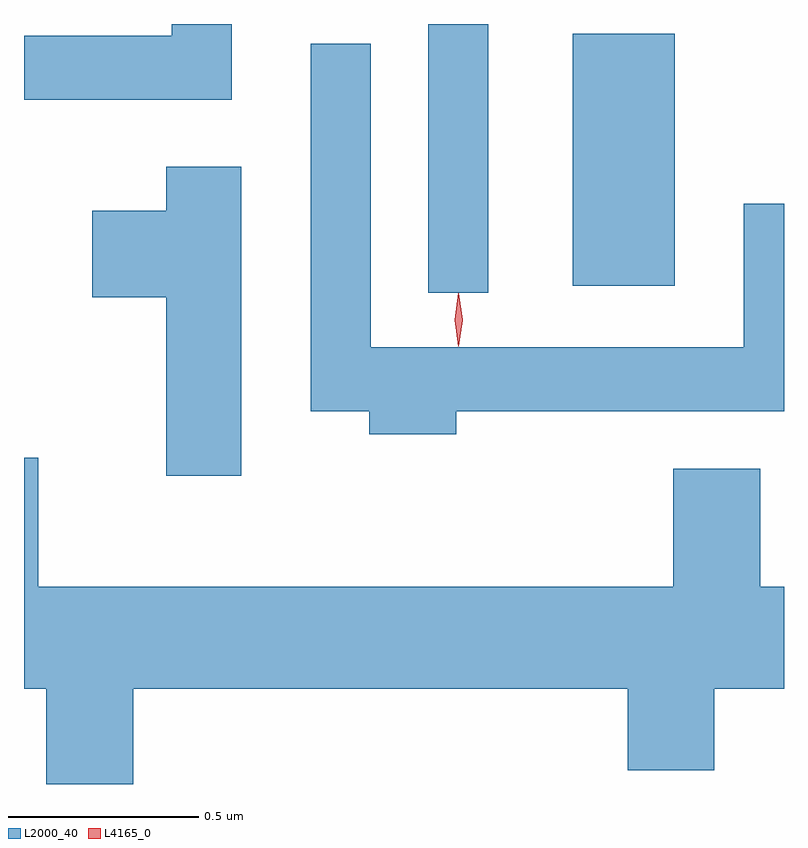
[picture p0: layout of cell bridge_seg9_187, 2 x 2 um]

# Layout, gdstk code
import gdstk
lib = gdstk.Library(unit=1e-6, precision=1e-09)
def R(c, l, rs):  # rectangles x0, y0, x1, y1
    for r in rs: c.add(gdstk.rectangle(r[:2], r[2:], *l))
def P(c, l, *ps):  # polygons
    for p in ps: c.add(gdstk.Polygon(p, *l))
L2000_40 = (2000, 40)
L4165_0 = (4165, 0)

bridge_seg9_187 = lib.new_cell('bridge_seg9_187')
R(bridge_seg9_187, L2000_40, [(1392.216,2072.778,1392.374,2073.485), (1392.596,2072.796,1392.864,2073.459)])
P(bridge_seg9_187, L2000_40, [(1391.699,2073.485),(1391.541,2073.485),(1391.541,2073.454),(1391.152,2073.454),(1391.152,2073.286),(1391.699,2073.286)],
  [(1392.289,2072.466),(1393.152,2072.466),(1393.152,2073.012),(1393.046,2073.012),(1393.046,2072.634),(1392.064,2072.634),(1392.064,2073.433),(1391.906,2073.433),(1391.906,2072.466),(1392.061,2072.466),(1392.061,2072.406),(1392.289,2072.406)],
  [(1391.724,2073.109),(1391.526,2073.109),(1391.526,2072.994),(1391.331,2072.994),(1391.331,2072.766),(1391.526,2072.766),(1391.526,2072.296),(1391.724,2072.296)],
  [(1391.439,2071.736),(1392.741,2071.736),(1392.741,2071.521),(1392.969,2071.521),(1392.969,2071.736),(1393.152,2071.736),(1393.152,2072.004),(1393.089,2072.004),(1393.089,2072.314),(1392.861,2072.314),(1392.861,2072.004),(1391.189,2072.004),(1391.189,2072.344),(1391.152,2072.344),(1391.152,2071.736),(1391.211,2071.736),(1391.211,2071.485),(1391.439,2071.485)])
P(bridge_seg9_187, L4165_0, [(1392.295,2072.637),(1392.286,2072.707),(1392.295,2072.776),(1392.296,2072.776),(1392.296,2072.776),(1392.306,2072.707),(1392.296,2072.637),(1392.296,2072.637)],
  [(1392.295,2072.64),(1392.286,2072.706),(1392.295,2072.772),(1392.296,2072.773),(1392.296,2072.772),(1392.306,2072.706),(1392.296,2072.64),(1392.296,2072.64)])

lib.write_gds('bridge_seg9_187.gds')
